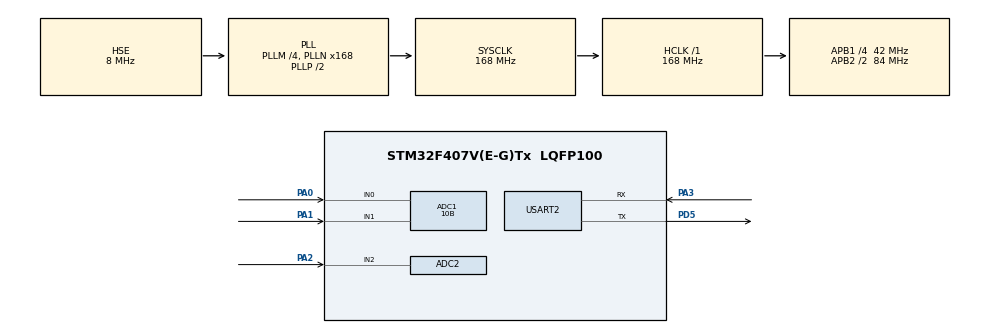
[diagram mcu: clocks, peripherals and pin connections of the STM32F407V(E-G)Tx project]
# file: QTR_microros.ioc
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ADC1.Channel-0\#ChannelRegularConversion=ADC_CHANNEL_0
ADC1.Channel-1\#ChannelRegularConversion=ADC_CHANNEL_1
ADC1.ContinuousConvMode=ENABLE
ADC1.NbrOfConversion=2
ADC1.NbrOfConversionFlag=1
ADC1.Rank-0\#ChannelRegularConversion=1
ADC1.Rank-1\#ChannelRegularConversion=2
ADC1.Resolution=ADC_RESOLUTION_10B
ADC1.SamplingTime-0\#ChannelRegularConversion=ADC_SAMPLETIME_56CYCLES
ADC1.SamplingTime-1\#ChannelRegularConversion=ADC_SAMPLETIME_56CYCLES
ADC1.ScanConvMode=ENABLE
ADC1.master=1
ADC2.Channel-0\#ChannelRegularConversion=ADC_CHANNEL_2
ADC2.ContinuousConvMode=ENABLE
ADC2.NbrOfConversionFlag=1
ADC2.Rank-0\#ChannelRegularConversion=1
ADC2.Resolution=ADC_RESOLUTION_10B
ADC2.SamplingTime-0\#ChannelRegularConversion=ADC_SAMPLETIME_56CYCLES
Dma.ADC1.0.Direction=DMA_PERIPH_TO_MEMORY
Dma.ADC1.0.FIFOMode=DMA_FIFOMODE_DISABLE
Dma.ADC1.0.Instance=DMA2_Stream0
Dma.ADC1.0.MemDataAlignment=DMA_MDATAALIGN_HALFWORD
Dma.ADC1.0.MemInc=DMA_MINC_ENABLE
Dma.ADC1.0.Mode=DMA_CIRCULAR
Dma.ADC1.0.PeriphDataAlignment=DMA_PDATAALIGN_HALFWORD
Dma.ADC1.0.PeriphInc=DMA_PINC_DISABLE
Dma.ADC1.0.Priority=DMA_PRIORITY_VERY_HIGH
Dma.ADC2.1.Direction=DMA_PERIPH_TO_MEMORY
Dma.ADC2.1.FIFOMode=DMA_FIFOMODE_DISABLE
Dma.ADC2.1.Instance=DMA2_Stream2
Dma.ADC2.1.MemDataAlignment=DMA_MDATAALIGN_HALFWORD
Dma.ADC2.1.MemInc=DMA_MINC_ENABLE
Dma.ADC2.1.Mode=DMA_NORMAL
Dma.ADC2.1.PeriphDataAlignment=DMA_PDATAALIGN_HALFWORD
Dma.ADC2.1.PeriphInc=DMA_PINC_DISABLE
Dma.ADC2.1.Priority=DMA_PRIORITY_LOW
Dma.Request0=ADC1
Dma.Request1=ADC2
Dma.Request2=USART2_RX
Dma.Request3=USART2_TX
Dma.USART2_RX.2.Direction=DMA_PERIPH_TO_MEMORY
Dma.USART2_RX.2.FIFOMode=DMA_FIFOMODE_DISABLE
Dma.USART2_RX.2.Instance=DMA1_Stream5
Dma.USART2_RX.2.MemDataAlignment=DMA_MDATAALIGN_BYTE
Dma.USART2_RX.2.MemInc=DMA_MINC_ENABLE
Dma.USART2_RX.2.Mode=DMA_NORMAL
Dma.USART2_RX.2.PeriphDataAlignment=DMA_PDATAALIGN_BYTE
Dma.USART2_RX.2.PeriphInc=DMA_PINC_DISABLE
Dma.USART2_RX.2.Priority=DMA_PRIORITY_VERY_HIGH
Dma.USART2_TX.3.Direction=DMA_MEMORY_TO_PERIPH
Dma.USART2_TX.3.FIFOMode=DMA_FIFOMODE_DISABLE
Dma.USART2_TX.3.Instance=DMA1_Stream6
Dma.USART2_TX.3.MemDataAlignment=DMA_MDATAALIGN_BYTE
Dma.USART2_TX.3.MemInc=DMA_MINC_ENABLE
Dma.USART2_TX.3.Mode=DMA_NORMAL
Dma.USART2_TX.3.PeriphDataAlignment=DMA_PDATAALIGN_BYTE
Dma.USART2_TX.3.PeriphInc=DMA_PINC_DISABLE
Dma.USART2_TX.3.Priority=DMA_PRIORITY_VERY_HIGH
FREERTOS.Tasks01=defaultTask,24,3000,StartDefaultTask,Default,NULL,Dynamic,NULL,NULL
Mcu.Family=STM32F4
Mcu.Name=STM32F407V(E-G)Tx
Mcu.Package=LQFP100
NVIC.ADC_IRQn=true\:5\:0\:false\:false\:true\:true\:true\:true\:true
NVIC.DMA1_Stream5_IRQn=true\:5\:0\:false\:false\:true\:true\:false\:true\:true
NVIC.DMA1_Stream6_IRQn=true\:5\:0\:false\:false\:true\:true\:false\:true\:true
NVIC.DMA2_Stream0_IRQn=true\:5\:0\:false\:false\:true\:true\:false\:true\:true
NVIC.DMA2_Stream2_IRQn=true\:5\:0\:false\:false\:true\:true\:false\:true\:true
NVIC.PriorityGroup=NVIC_PRIORITYGROUP_4
NVIC.USART2_IRQn=true\:5\:0\:false\:false\:true\:true\:true\:true\:true
PA0-WKUP.Signal=ADCx_IN0
PA1.Signal=ADCx_IN1
PA13.Mode=Serial_Wire
PA13.Signal=SYS_JTMS-SWDIO
PA14.Mode=Serial_Wire
PA14.Signal=SYS_JTCK-SWCLK
PA2.Signal=ADCx_IN2
PA3.Mode=Asynchronous
PA3.Signal=USART2_RX
PC14-OSC32_IN.Mode=LSE-External-Oscillator
PC14-OSC32_IN.Signal=RCC_OSC32_IN
PC15-OSC32_OUT.Mode=LSE-External-Oscillator
PC15-OSC32_OUT.Signal=RCC_OSC32_OUT
PD5.Mode=Asynchronous
PD5.Signal=USART2_TX
PH0-OSC_IN.Mode=HSE-External-Oscillator
PH0-OSC_IN.Signal=RCC_OSC_IN
PH1-OSC_OUT.Mode=HSE-External-Oscillator
PH1-OSC_OUT.Signal=RCC_OSC_OUT
ProjectManager.HeapSize=0x200
ProjectManager.StackSize=0x400
ProjectManager.TargetToolchain=STM32CubeIDE
RCC.48MHZClocksFreq_Value=48000000
RCC.AHBFreq_Value=168000000
RCC.APB1CLKDivider=RCC_HCLK_DIV4
RCC.APB1Freq_Value=42000000
RCC.APB1TimFreq_Value=84000000
RCC.APB2CLKDivider=RCC_HCLK_DIV2
RCC.APB2Freq_Value=84000000
RCC.APB2TimFreq_Value=168000000
RCC.CortexFreq_Value=168000000
RCC.HCLKFreq_Value=168000000
RCC.HSE_VALUE=8000000
RCC.HSI_VALUE=16000000
RCC.PLLM=4
RCC.PLLN=168
RCC.PLLQ=7
RCC.PLLSourceVirtual=RCC_PLLSOURCE_HSE
RCC.SYSCLKFreq_VALUE=168000000
RCC.SYSCLKSource=RCC_SYSCLKSOURCE_PLLCLK
RCC.VCOOutputFreq_Value=336000000
SH.ADCx_IN0.0=ADC1_IN0,IN0
SH.ADCx_IN1.0=ADC1_IN1,IN1
SH.ADCx_IN2.0=ADC2_IN2,IN2
USART2.VirtualMode=VM_ASYNC
VP_FREERTOS_VS_CMSIS_V2.Mode=CMSIS_V2
board=STM32F407G-DISC1

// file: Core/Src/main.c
/* USER CODE BEGIN Header */
/**
  ******************************************************************************
  * @file           : main.c
  * @brief          : Main program body
  ******************************************************************************
  * @attention
  *
  * Copyright (c) 2023 STMicroelectronics.
  * All rights reserved.
  *
  * This software is licensed under terms that can be found in the LICENSE file
  * in the root directory of this software component.
  * If no LICENSE file comes with this software, it is provided AS-IS.
  *
  ******************************************************************************
  */
/* USER CODE END Header */
#include "main.h"
#include "cmsis_os.h"

/* USER CODE BEGIN Includes */
#include <rcl/rcl.h>
#include <rcl/error_handling.h>
#include <rclc/rclc.h>
#include <rclc/executor.h>
#include <uxr/client/transport.h>
#include <rmw_microxrcedds_c/config.h>
#include <rmw_microros/rmw_microros.h>

#include <std_msgs/msg/int32.h>

/* USER CODE END Includes */

ADC_HandleTypeDef hadc1;
ADC_HandleTypeDef hadc2;
DMA_HandleTypeDef hdma_adc1;
DMA_HandleTypeDef hdma_adc2;

UART_HandleTypeDef huart2;
DMA_HandleTypeDef hdma_usart2_rx;
DMA_HandleTypeDef hdma_usart2_tx;

/* Definitions for defaultTask */
osThreadId_t defaultTaskHandle;
const osThreadAttr_t defaultTask_attributes = {
  .name = "defaultTask",
  .stack_size = 3000 * 4,
  .priority = (osPriority_t) osPriorityNormal,
};
/* USER CODE BEGIN PV */
uint32_t adc1_value[2];
uint32_t adc2_value;
int count = 0;
/* USER CODE END PV */

void SystemClock_Config(void);
static void MX_GPIO_Init(void);
static void MX_DMA_Init(void);
static void MX_ADC1_Init(void);
static void MX_ADC2_Init(void);
static void MX_USART2_UART_Init(void);
void StartDefaultTask(void *argument);

/* USER CODE BEGIN 0 */
/*void HAL_ADC_ConvCpltCallback(ADC_HandleTypeDef* hadc )
{
	if(__HAL_ADC_GET_FLAG(&hadc1,ADC_FLAG_EOC) != RESET)
	{
		adc1_value[count] = HAL_ADC_GetValue(&hadc1);
		count++;*/
		/*
		 *    count = 0 => channel 1
		 *    count = 1 => channel 2
		 */
		/*if(count == 2)
			count = 0;

	}
	if(__HAL_ADC_GET_FLAG(&hadc2,ADC_FLAG_EOC) != RESET)
	{
		adc2_value = HAL_ADC_GetValue(&hadc2);
	}

}*/

/* USER CODE END 0 */

int main(void)
{

  /* MCU Configuration--------------------------------------------------------*/

  /* Reset of all peripherals, Initializes the Flash interface and the Systick. */
  HAL_Init();

  /* Configure the system clock */
  SystemClock_Config();

  /* Initialize all configured peripherals */
  MX_GPIO_Init();
  MX_DMA_Init();
  MX_ADC1_Init();
  MX_ADC2_Init();
  MX_USART2_UART_Init();
  /* USER CODE BEGIN 2 */
  HAL_ADC_Start_IT(&hadc1);
  HAL_ADC_Start_IT(&hadc2);
  /* USER CODE END 2 */

  /* Init scheduler */
  osKernelInitialize();

  /* Create the thread(s) */
  /* creation of defaultTask */
  defaultTaskHandle = osThreadNew(StartDefaultTask, NULL, &defaultTask_attributes);

  /* Start scheduler */
  osKernelStart();

  /* We should never get here as control is now taken by the scheduler */
  /* Infinite loop */
  while (1)
  {

  }
}

void SystemClock_Config(void)
{
  RCC_OscInitTypeDef RCC_OscInitStruct = {0};
  RCC_ClkInitTypeDef RCC_ClkInitStruct = {0};

  /** Configure the main internal regulator output voltage
  */
  __HAL_RCC_PWR_CLK_ENABLE();
  __HAL_PWR_VOLTAGESCALING_CONFIG(PWR_REGULATOR_VOLTAGE_SCALE1);

  /** Initializes the RCC Oscillators according to the specified parameters
  * in the RCC_OscInitTypeDef structure.
  */
  RCC_OscInitStruct.OscillatorType = RCC_OSCILLATORTYPE_HSE;
  RCC_OscInitStruct.HSEState = RCC_HSE_ON;
  RCC_OscInitStruct.PLL.PLLState = RCC_PLL_ON;
  RCC_OscInitStruct.PLL.PLLSource = RCC_PLLSOURCE_HSE;
  RCC_OscInitStruct.PLL.PLLM = 4;
  RCC_OscInitStruct.PLL.PLLN = 168;
  RCC_OscInitStruct.PLL.PLLP = RCC_PLLP_DIV2;
  RCC_OscInitStruct.PLL.PLLQ = 7;
  if (HAL_RCC_OscConfig(&RCC_OscInitStruct) != HAL_OK)
  {
    Error_Handler();
  }

  /** Initializes the CPU, AHB and APB buses clocks
  */
  RCC_ClkInitStruct.ClockType = RCC_CLOCKTYPE_HCLK|RCC_CLOCKTYPE_SYSCLK
                              |RCC_CLOCKTYPE_PCLK1|RCC_CLOCKTYPE_PCLK2;
  RCC_ClkInitStruct.SYSCLKSource = RCC_SYSCLKSOURCE_PLLCLK;
  RCC_ClkInitStruct.AHBCLKDivider = RCC_SYSCLK_DIV1;
  RCC_ClkInitStruct.APB1CLKDivider = RCC_HCLK_DIV4;
  RCC_ClkInitStruct.APB2CLKDivider = RCC_HCLK_DIV2;

  if (HAL_RCC_ClockConfig(&RCC_ClkInitStruct, FLASH_LATENCY_5) != HAL_OK)
  {
    Error_Handler();
  }
}

static void MX_ADC1_Init(void)
{

  ADC_ChannelConfTypeDef sConfig = {0};

  /** Configure the global features of the ADC (Clock, Resolution, Data Alignment and number of conversion)
  */
  hadc1.Instance = ADC1;
  hadc1.Init.ClockPrescaler = ADC_CLOCK_SYNC_PCLK_DIV4;
  hadc1.Init.Resolution = ADC_RESOLUTION_10B;
  hadc1.Init.ScanConvMode = ENABLE;
  hadc1.Init.ContinuousConvMode = ENABLE;
  hadc1.Init.DiscontinuousConvMode = DISABLE;
  hadc1.Init.ExternalTrigConvEdge = ADC_EXTERNALTRIGCONVEDGE_NONE;
  hadc1.Init.ExternalTrigConv = ADC_SOFTWARE_START;
  hadc1.Init.DataAlign = ADC_DATAALIGN_RIGHT;
  hadc1.Init.NbrOfConversion = 2;
  hadc1.Init.DMAContinuousRequests = DISABLE;
  hadc1.Init.EOCSelection = ADC_EOC_SINGLE_CONV;
  if (HAL_ADC_Init(&hadc1) != HAL_OK)
  {
    Error_Handler();
  }

  /** Configure for the selected ADC regular channel its corresponding rank in the sequencer and its sample time.
  */
  sConfig.Channel = ADC_CHANNEL_0;
  sConfig.Rank = 1;
  sConfig.SamplingTime = ADC_SAMPLETIME_56CYCLES;
  if (HAL_ADC_ConfigChannel(&hadc1, &sConfig) != HAL_OK)
  {
    Error_Handler();
  }

  /** Configure for the selected ADC regular channel its corresponding rank in the sequencer and its sample time.
  */
  sConfig.Channel = ADC_CHANNEL_1;
  sConfig.Rank = 2;
  if (HAL_ADC_ConfigChannel(&hadc1, &sConfig) != HAL_OK)
  {
    Error_Handler();
  }

}

static void MX_ADC2_Init(void)
{

  ADC_ChannelConfTypeDef sConfig = {0};

  /** Configure the global features of the ADC (Clock, Resolution, Data Alignment and number of conversion)
  */
  hadc2.Instance = ADC2;
  hadc2.Init.ClockPrescaler = ADC_CLOCK_SYNC_PCLK_DIV4;
  hadc2.Init.Resolution = ADC_RESOLUTION_10B;
  hadc2.Init.ScanConvMode = DISABLE;
  hadc2.Init.ContinuousConvMode = ENABLE;
  hadc2.Init.DiscontinuousConvMode = DISABLE;
  hadc2.Init.ExternalTrigConvEdge = ADC_EXTERNALTRIGCONVEDGE_NONE;
  hadc2.Init.ExternalTrigConv = ADC_SOFTWARE_START;
  hadc2.Init.DataAlign = ADC_DATAALIGN_RIGHT;
  hadc2.Init.NbrOfConversion = 1;
  hadc2.Init.DMAContinuousRequests = DISABLE;
  hadc2.Init.EOCSelection = ADC_EOC_SINGLE_CONV;
  if (HAL_ADC_Init(&hadc2) != HAL_OK)
  {
    Error_Handler();
  }

  /** Configure for the selected ADC regular channel its corresponding rank in the sequencer and its sample time.
  */
  sConfig.Channel = ADC_CHANNEL_2;
  sConfig.Rank = 1;
  sConfig.SamplingTime = ADC_SAMPLETIME_56CYCLES;
  if (HAL_ADC_ConfigChannel(&hadc2, &sConfig) != HAL_OK)
  {
    Error_Handler();
  }

}

static void MX_USART2_UART_Init(void)
{

  huart2.Instance = USART2;
  huart2.Init.BaudRate = 115200;
  huart2.Init.WordLength = UART_WORDLENGTH_8B;
  huart2.Init.StopBits = UART_STOPBITS_1;
  huart2.Init.Parity = UART_PARITY_NONE;
  huart2.Init.Mode = UART_MODE_TX_RX;
  huart2.Init.HwFlowCtl = UART_HWCONTROL_NONE;
  huart2.Init.OverSampling = UART_OVERSAMPLING_16;
  if (HAL_UART_Init(&huart2) != HAL_OK)
  {
    Error_Handler();
  }

}

static void MX_DMA_Init(void)
{

  /* DMA controller clock enable */
  __HAL_RCC_DMA2_CLK_ENABLE();
  __HAL_RCC_DMA1_CLK_ENABLE();

  /* DMA interrupt init */
  /* DMA1_Stream5_IRQn interrupt configuration */
  HAL_NVIC_SetPriority(DMA1_Stream5_IRQn, 5, 0);
  HAL_NVIC_EnableIRQ(DMA1_Stream5_IRQn);
  /* DMA1_Stream6_IRQn interrupt configuration */
  HAL_NVIC_SetPriority(DMA1_Stream6_IRQn, 5, 0);
  HAL_NVIC_EnableIRQ(DMA1_Stream6_IRQn);
  /* DMA2_Stream0_IRQn interrupt configuration */
  HAL_NVIC_SetPriority(DMA2_Stream0_IRQn, 5, 0);
  HAL_NVIC_EnableIRQ(DMA2_Stream0_IRQn);
  /* DMA2_Stream2_IRQn interrupt configuration */
  HAL_NVIC_SetPriority(DMA2_Stream2_IRQn, 5, 0);
  HAL_NVIC_EnableIRQ(DMA2_Stream2_IRQn);

}

static void MX_GPIO_Init(void)
{

  /* GPIO Ports Clock Enable */
  __HAL_RCC_GPIOC_CLK_ENABLE();
  __HAL_RCC_GPIOH_CLK_ENABLE();
  __HAL_RCC_GPIOA_CLK_ENABLE();
  __HAL_RCC_GPIOD_CLK_ENABLE();

}

/* USER CODE BEGIN 4 */
bool cubemx_transport_open(struct uxrCustomTransport * transport);
bool cubemx_transport_close(struct uxrCustomTransport * transport);
size_t cubemx_transport_write(struct uxrCustomTransport* transport, const uint8_t * buf, size_t len, uint8_t * err);
size_t cubemx_transport_read(struct uxrCustomTransport* transport, uint8_t* buf, size_t len, int timeout, uint8_t* err);

void * microros_allocate(size_t size, void * state);
void microros_deallocate(void * pointer, void * state);
void * microros_reallocate(void * pointer, size_t size, void * state);
void * microros_zero_allocate(size_t number_of_elements, size_t size_of_element, void * state);
/* USER CODE END 4 */

void StartDefaultTask(void *argument)
{
  /* USER CODE BEGIN 5 */

	  // micro-ROS configuration

	  rmw_uros_set_custom_transport(
	    true,
	    (void *) &huart2,
	    cubemx_transport_open,
	    cubemx_transport_close,
	    cubemx_transport_write,
	    cubemx_transport_read);

	  rcl_allocator_t freeRTOS_allocator = rcutils_get_zero_initialized_allocator();
	  freeRTOS_allocator.allocate = microros_allocate;
	  freeRTOS_allocator.deallocate = microros_deallocate;
	  freeRTOS_allocator.reallocate = microros_reallocate;
	  freeRTOS_allocator.zero_allocate =  microros_zero_allocate;

	  if (!rcutils_set_default_allocator(&freeRTOS_allocator)) {
	      printf("Error on default allocators (line %d)\n", __LINE__);
	  }

	  // micro-ROS app

	  rcl_publisher_t publisher;
	  std_msgs__msg__Int32 msg[2];
	  rclc_support_t support;
	  rcl_allocator_t allocator;
	  rcl_node_t node;
	  rcl_subscription_t subscriber;
	  //rclc_executor_t executor;

	  allocator = rcl_get_default_allocator();

	  //create init_options
	  rclc_support_init(&support, 0, NULL, &allocator);

	  // create node
	  rclc_node_init_default(&node, "cubemx_node", "STM32_Discovery", &support);

	  // create publisher
	  rclc_publisher_init_default(
	    &publisher,
	    &node,
	    ROSIDL_GET_MSG_TYPE_SUPPORT(std_msgs, msg, Int32),
	    "QTR_FM");

	  //create subscriber
	  rclc_subscription_init_default(
	    &subscriber,
		&node,
		ROSIDL_GET_MSG_TYPE_SUPPORT(std_msgs, msg, Int32),
		"QTR_AM");

	  /*// executor
	  rclc_executor_add_subscription(
	    &executor,
		&subscriber,
		msg,
		&subscription_callback,
		ON_NEW_DATA);*/

	  msg[0].data = 0;
	  msg[1].data = 0;

	  for(;;)
	  {

		    HAL_ADC_Start(&hadc1);

		    if (HAL_ADC_PollForConversion(&hadc1, 100000) == HAL_OK)
		    	msg[0].data = HAL_ADC_GetValue(&hadc1);

		    HAL_ADC_Stop(&hadc1);
		    HAL_ADC_Start(&hadc2);

		    if (HAL_ADC_PollForConversion(&hadc2, 100000) == HAL_OK)
		    	msg[1].data = HAL_ADC_GetValue(&hadc2);

		    HAL_ADC_Stop(&hadc2);

		    /*void (* rclc_subscription_callback_t)(const void *);

		    // Implementation example:
		    void subscription_callback(const void * msgin)
		    {
		      // Cast received message to used type
		      const std_msgs__msg__Int32 * msg = (const std_msgs__msg__Int32 *)msgin;

		      // Process message
		      printf("Received: %d\n", msg->data);
		    }*/

	    /*rcl_ret_t ret = rcl_publish(&publisher, &msg, NULL);
	    if (ret != RCL_RET_OK)
	    {
	      printf("Error publishing (line %d)\n", __LINE__);
	    }*/

		    rcl_ret_t ret =rcl_publish(&publisher, &msg[1], NULL);
		    if (ret != RCL_RET_OK)
		    {
		    	printf("Error publishing (line %d)\n", __LINE__);
		    }
		    rcl_ret_t ret2 = rcl_publish(&publisher, &msg[0], NULL);
		    if (ret2 != RCL_RET_OK)
		    {
		    	printf("Error publishing (line %d)\n", __LINE__);
		    }
		//rclc_executor_spin(&executor);

	    //msg.data++;
	    osDelay(10);

	  }
  /* USER CODE END 5 */
}

void Error_Handler(void)
{
  __disable_irq();
  while (1)
  {
  }
}
